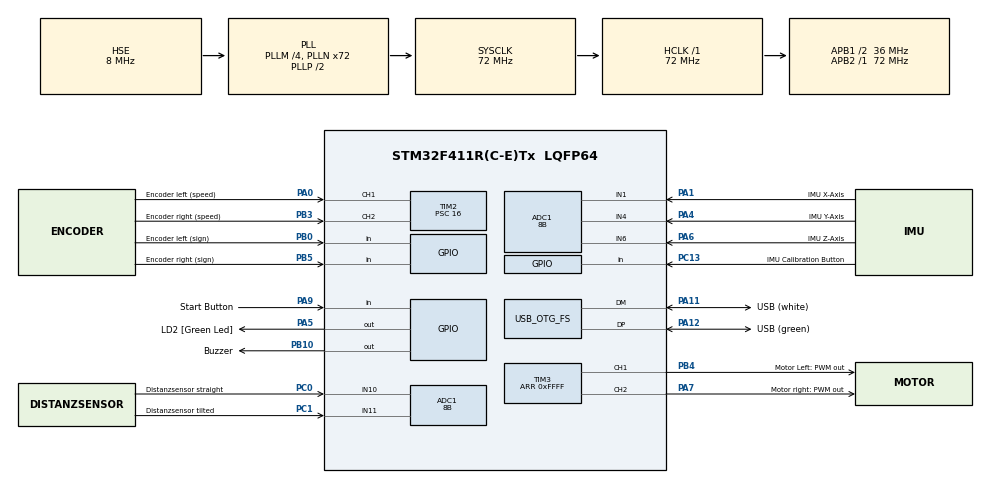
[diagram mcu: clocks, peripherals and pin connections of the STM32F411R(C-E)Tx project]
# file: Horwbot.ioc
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ADC1.Channel-18\#ChannelRegularConversion=ADC_CHANNEL_4
ADC1.Channel-20\#ChannelRegularConversion=ADC_CHANNEL_6
ADC1.Channel-21\#ChannelRegularConversion=ADC_CHANNEL_10
ADC1.Channel-22\#ChannelRegularConversion=ADC_CHANNEL_11
ADC1.Channel-6\#ChannelRegularConversion=ADC_CHANNEL_1
ADC1.ClockPrescaler=ADC_CLOCK_SYNC_PCLK_DIV8
ADC1.ContinuousConvMode=DISABLE
ADC1.DMAContinuousRequests=ENABLE
ADC1.DiscontinuousConvMode=DISABLE
ADC1.EOCSelection=ADC_EOC_SEQ_CONV
ADC1.NbrOfConversion=5
ADC1.NbrOfConversionFlag=1
ADC1.Rank-18\#ChannelRegularConversion=2
ADC1.Rank-20\#ChannelRegularConversion=3
ADC1.Rank-21\#ChannelRegularConversion=4
ADC1.Rank-22\#ChannelRegularConversion=5
ADC1.Rank-6\#ChannelRegularConversion=1
ADC1.Resolution=ADC_RESOLUTION_8B
ADC1.SamplingTime-18\#ChannelRegularConversion=ADC_SAMPLETIME_480CYCLES
ADC1.SamplingTime-20\#ChannelRegularConversion=ADC_SAMPLETIME_480CYCLES
ADC1.SamplingTime-21\#ChannelRegularConversion=ADC_SAMPLETIME_480CYCLES
ADC1.SamplingTime-22\#ChannelRegularConversion=ADC_SAMPLETIME_480CYCLES
ADC1.SamplingTime-6\#ChannelRegularConversion=ADC_SAMPLETIME_480CYCLES
ADC1.ScanConvMode=ENABLE
ADC1.master=1
Dma.ADC1.0.Direction=DMA_PERIPH_TO_MEMORY
Dma.ADC1.0.FIFOMode=DMA_FIFOMODE_DISABLE
Dma.ADC1.0.Instance=DMA2_Stream0
Dma.ADC1.0.MemDataAlignment=DMA_MDATAALIGN_BYTE
Dma.ADC1.0.MemInc=DMA_MINC_ENABLE
Dma.ADC1.0.Mode=DMA_NORMAL
Dma.ADC1.0.PeriphDataAlignment=DMA_PDATAALIGN_BYTE
Dma.ADC1.0.PeriphInc=DMA_PINC_DISABLE
Dma.ADC1.0.Priority=DMA_PRIORITY_LOW
Dma.Request0=ADC1
Mcu.Family=STM32F4
Mcu.Name=STM32F411R(C-E)Tx
Mcu.Package=LQFP64
NVIC.ADC_IRQn=true\:0\:0\:false\:false\:true\:true
NVIC.DMA2_Stream0_IRQn=true\:0\:0\:false\:false\:true\:false
NVIC.OTG_FS_IRQn=true\:0\:0\:false\:false\:true\:true
NVIC.PriorityGroup=NVIC_PRIORITYGROUP_0
NVIC.TIM2_IRQn=true\:0\:0\:false\:false\:true\:true
PA0-WKUP.GPIO_Label=Encoder left (speed)
PA0-WKUP.Signal=S_TIM2_CH1_ETR
PA1.GPIO_Label=IMU X-Axis
PA1.Signal=ADCx_IN1
PA11.GPIO_Label=USB (white)
PA11.Mode=Device_Only
PA11.Signal=USB_OTG_FS_DM
PA12.GPIO_Label=USB (green)
PA12.Mode=Device_Only
PA12.Signal=USB_OTG_FS_DP
PA13.GPIO_Label=Debug\: TMS
PA13.Mode=Serial_Wire
PA13.Signal=SYS_JTMS-SWDIO
PA14.GPIO_Label=Debug\: TCK
PA14.Mode=Serial_Wire
PA14.Signal=SYS_JTCK-SWCLK
PA2.GPIO_Label=Default Nucleo TX
PA2.Signal=USART2_TX
PA3.GPIO_Label=Default Nucleo RX
PA3.Signal=USART2_RX
PA4.GPIO_Label=IMU Y-Axis
PA4.Signal=ADCx_IN4
PA5.GPIO_Label=LD2 [Green Led]
PA5.Signal=GPIO_Output
PA6.GPIO_Label=IMU Z-Axis
PA6.Signal=ADCx_IN6
PA7.GPIO_Label=Motor right\: PWM out
PA7.Signal=S_TIM3_CH2
PA9.GPIO_Label=Start Button
PA9.GPIO_PuPd=GPIO_PULLDOWN
PA9.Signal=GPIO_Input
PB0.GPIO_Label=Encoder left (sign)
PB0.Signal=GPIO_Input
PB10.GPIO_Label=Buzzer
PB10.GPIO_ModeDefaultOutputPP=GPIO_MODE_OUTPUT_OD
PB10.PinState=GPIO_PIN_SET
PB10.Signal=GPIO_Output
PB3.GPIO_Label=Encoder right (speed)
PB3.Signal=S_TIM2_CH2
PB4.GPIO_Label=Motor Left\: PWM out
PB4.Signal=S_TIM3_CH1
PB5.GPIO_Label=Encoder right (sign)
PB5.Signal=GPIO_Input
PC0.GPIO_Label=Distanzsensor straight
PC0.Signal=ADCx_IN10
PC1.GPIO_Label=Distanzsensor tilted
PC1.Signal=ADCx_IN11
PC13-ANTI_TAMP.GPIO_Label=IMU Calibration Button
PC13-ANTI_TAMP.Signal=GPIO_Input
PC14-OSC32_IN.Mode=LSE-External-Oscillator
PC14-OSC32_IN.Signal=RCC_OSC32_IN
PC15-OSC32_OUT.Mode=LSE-External-Oscillator
PC15-OSC32_OUT.Signal=RCC_OSC32_OUT
PH0\ -\ OSC_IN.Mode=HSE-External-Clock-Source
PH0\ -\ OSC_IN.Signal=RCC_OSC_IN
PH1\ -\ OSC_OUT.Mode=HSE-External-Clock-Source
PH1\ -\ OSC_OUT.Signal=RCC_OSC_OUT
ProjectManager.HeapSize=0x200
ProjectManager.StackSize=0x400
ProjectManager.TargetToolchain=TrueSTUDIO
RCC.48MHZClocksFreq_Value=48000000
RCC.AHBFreq_Value=72000000
RCC.APB1CLKDivider=RCC_HCLK_DIV2
RCC.APB1Freq_Value=36000000
RCC.APB1TimFreq_Value=72000000
RCC.APB2Freq_Value=72000000
RCC.APB2TimFreq_Value=72000000
RCC.CortexFreq_Value=72000000
RCC.FLatency-AdvancedSettings=FLASH_LATENCY_2
RCC.HCLKFreq_Value=72000000
RCC.HSE_VALUE=8000000
RCC.HSI_VALUE=16000000
RCC.PLLM=4
RCC.PLLN=72
RCC.PLLQ=3
RCC.SYSCLKFreq_VALUE=72000000
RCC.SYSCLKSource=RCC_SYSCLKSOURCE_PLLCLK
RCC.VCOOutputFreq_Value=144000000
SH.ADCx_IN1.0=ADC1_IN1,IN1
SH.ADCx_IN10.0=ADC1_IN10,IN10
SH.ADCx_IN11.0=ADC1_IN11,IN11
SH.ADCx_IN4.0=ADC1_IN4,IN4
SH.ADCx_IN6.0=ADC1_IN6,IN6
SH.S_TIM2_CH1_ETR.0=TIM2_CH1,Input_Capture1_from_TI1
SH.S_TIM2_CH2.0=TIM2_CH2,Input_Capture2_from_TI2
SH.S_TIM3_CH1.0=TIM3_CH1,PWM Generation1 CH1
SH.S_TIM3_CH2.0=TIM3_CH2,PWM Generation2 CH2
TIM2.Channel-Input_Capture1_from_TI1=TIM_CHANNEL_1
TIM2.Channel-Input_Capture2_from_TI2=TIM_CHANNEL_2
TIM2.Period=0xFFFFFFFF
TIM2.Prescaler=16
TIM3.Channel-PWM\ Generation1\ CH1=TIM_CHANNEL_1
TIM3.Channel-PWM\ Generation2\ CH2=TIM_CHANNEL_2
TIM3.ClockDivision=TIM_CLOCKDIVISION_DIV4
TIM3.Period=0xFFFF
TIM3.Pulse-PWM\ Generation1\ CH1=6000
TIM3.Pulse-PWM\ Generation2\ CH2=6000
TIM3.TIM_MasterOutputTrigger=TIM_TRGO_ENABLE
USB_DEVICE.CLASS_NAME_FS=CDC
USB_DEVICE.VirtualMode=Cdc
USB_DEVICE.VirtualModeFS=Cdc_FS
USB_OTG_FS.VirtualMode=Device_Only
VP_TIM2_VS_ClockSourceINT.Mode=Internal
VP_TIM3_VS_ClockSourceINT.Mode=Internal
VP_USB_DEVICE_VS_USB_DEVICE_CDC_FS.Mode=CDC_FS
board=NUCLEO-F411RE

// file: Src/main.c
/**
  ******************************************************************************
  * @file           : main.c
  * @brief          : Main program body
  ******************************************************************************
  * This notice applies to any and all portions of this file
  * that are not between comment pairs USER CODE BEGIN and
  * USER CODE END. Other portions of this file, whether
  * inserted by the user or by software development tools
  * are owned by their respective copyright owners.
  *
  * Copyright (c) 2020 STMicroelectronics International N.V.
  * All rights reserved.
  *
  * Redistribution and use in source and binary forms, with or without
  * modification, are permitted, provided that the following conditions are met:
  *
  * 1. Redistribution of source code must retain the above copyright notice,
  *    this list of conditions and the following disclaimer.
  * 2. Redistributions in binary form must reproduce the above copyright notice,
  *    this list of conditions and the following disclaimer in the documentation
  *    and/or other materials provided with the distribution.
  * 3. Neither the name of STMicroelectronics nor the names of other
  *    contributors to this software may be used to endorse or promote products
  *    derived from this software without specific written permission.
  * 4. This software, including modifications and/or derivative works of this
  *    software, must execute solely and exclusively on microcontroller or
  *    microprocessor devices manufactured by or for STMicroelectronics.
  * 5. Redistribution and use of this software other than as permitted under
  *    this license is void and will automatically terminate your rights under
  *    this license.
  *
  * THIS SOFTWARE IS PROVIDED BY STMICROELECTRONICS AND CONTRIBUTORS "AS IS"
  * AND ANY EXPRESS, IMPLIED OR STATUTORY WARRANTIES, INCLUDING, BUT NOT
  * LIMITED TO, THE IMPLIED WARRANTIES OF MERCHANTABILITY, FITNESS FOR A
  * PARTICULAR PURPOSE AND NON-INFRINGEMENT OF THIRD PARTY INTELLECTUAL PROPERTY
  * RIGHTS ARE DISCLAIMED TO THE FULLEST EXTENT PERMITTED BY LAW. IN NO EVENT
  * SHALL STMICROELECTRONICS OR CONTRIBUTORS BE LIABLE FOR ANY DIRECT, INDIRECT,
  * INCIDENTAL, SPECIAL, EXEMPLARY, OR CONSEQUENTIAL DAMAGES (INCLUDING, BUT NOT
  * LIMITED TO, PROCUREMENT OF SUBSTITUTE GOODS OR SERVICES; LOSS OF USE, DATA,
  * OR PROFITS; OR BUSINESS INTERRUPTION) HOWEVER CAUSED AND ON ANY THEORY OF
  * LIABILITY, WHETHER IN CONTRACT, STRICT LIABILITY, OR TORT (INCLUDING
  * NEGLIGENCE OR OTHERWISE) ARISING IN ANY WAY OUT OF THE USE OF THIS SOFTWARE,
  * EVEN IF ADVISED OF THE POSSIBILITY OF SUCH DAMAGE.
  *
  ******************************************************************************
  */
#include "main.h"
#include "stm32f4xx_hal.h"
#include "usb_device.h"

/* USER CODE BEGIN Includes */
#include "stdbool.h"
#include "Functions.h"

/* USER CODE END Includes */

ADC_HandleTypeDef hadc1;
DMA_HandleTypeDef hdma_adc1;

TIM_HandleTypeDef htim2;
TIM_HandleTypeDef htim3;

/* USER CODE BEGIN PV */
/* Private variables ---------------------------------------------------------*/
uint8_t USBreceivedFlag = 0;     // indicates if data has been received by USB
uint8_t USBreceivedBuffer[100];  // contains received data by USB

uint16_t Encoder_Counter[2] = {0, 0};
int8_t   Encoder_Sign[2]    = {1, 1};	// 1: positive (clockwise) direction of rotation, -1: negative (counter-clockwise) direction of rotation

/* USER CODE END PV */

void SystemClock_Config(void);
static void MX_GPIO_Init(void);
static void MX_DMA_Init(void);
static void MX_TIM2_Init(void);
static void MX_ADC1_Init(void);
static void MX_TIM3_Init(void);

void HAL_TIM_MspPostInit(TIM_HandleTypeDef *htim);

/* USER CODE BEGIN PFP */
/* Private function prototypes -----------------------------------------------*/
extern uint8_t CDC_Transmit_FS(uint8_t* Buf, uint16_t Len);

/* USER CODE END PFP */

int main(void)
{
  /* USER CODE BEGIN 1 */
	uint8_t ADCbuffer[ADC_CH_AMOUNT];	// 0: IMU X-Axis
										// 1: IMU Y-Axis
										// 2: IMU Z-Axis
										// 3: DistanceSensor straight
										// 4: DistanceSensor tilted

	uint16_t MainCounter  = 0;			// Main Counter, increases every 10 ms

	int8_t IMU_OffsetCalibration[3];

	bool     Buzzer_ActiveFlag   = false;
	uint16_t Buzzer_ResetCounter = 0;

	int16_t Encoder_Speed[2]             = {0, 0};
	int16_t Motor_TargetSpeedReceived[2] = {0, 0};  // Received target speed value
	int16_t Motor_TargetSpeed[2]         = {0, 0};  // Real target speed value, which is used as input for the motor control (this is the smoothed version of Motor_TargetSpeedReceived)

	bool JetsonReady = false;

  /* USER CODE END 1 */

  /* MCU Configuration----------------------------------------------------------*/

  /* Reset of all peripherals, Initializes the Flash interface and the Systick. */
  HAL_Init();

  /* Configure the system clock */
  SystemClock_Config();

  /* Initialize all configured peripherals */
  MX_GPIO_Init();
  MX_DMA_Init();
  MX_TIM2_Init();
  MX_ADC1_Init();
  MX_USB_DEVICE_Init();
  MX_TIM3_Init();
  /* USER CODE BEGIN 2 */

  /* IMU Offset-Calibration on startup */
  HAL_ADC_Start_DMA(&hadc1, &ADCbuffer[0], ADC_CH_AMOUNT);  // Start first ADC Conversion for IMU Offset-Calibration
  HAL_Delay(100);  // Delay in ms  // wait for first conversion to complete

  IMU_calibrate_offset(IMU_OffsetCalibration, ADCbuffer);

  /* Initialize Timers */
  TIM_Init(htim2, htim3);

  /* USER CODE END 2 */

  /* Infinite loop */
  while (1)
  {

  /* USER CODE BEGIN 3 */

	  if((Buzzer_ActiveFlag == 1) && (MainCounter >= Buzzer_ResetCounter))
	  {
		  buzzer_off();
		  Buzzer_ActiveFlag = 0;
	  }

	  if(startButton_raisingEdge())
	  {
		  if(JetsonReady)
		  {
			  // notify Navigation-Computer that start command has been issued by the user
			  USB_send_start();

			  // notify user by a short beep
			  buzzer_initiate_shortbeep(&Buzzer_ActiveFlag, MainCounter, &Buzzer_ResetCounter);
		  }
		  else
		  {
			  // Jetson is not ready yet -> notify user by a long beep
			  buzzer_initiate_longbeep(&Buzzer_ActiveFlag, MainCounter, &Buzzer_ResetCounter);
		  }
	  }

	  if(imu_calibrationButton_pressed())
	  {
		  IMU_calibrate_offset(IMU_OffsetCalibration, ADCbuffer);
	  }

	  if(USBreceivedFlag)
	  {
		  USBreceivedFlag = 0;
		  USB_receive_handle(Motor_TargetSpeedReceived, MainCounter, &Buzzer_ActiveFlag, &Buzzer_ResetCounter, &JetsonReady);
	  }

	  if((MainCounter % 10) == 0) // every 10th time (every 100 ms)
	  {
		  Encoder_calculateSpeed(Encoder_Speed);

		  if(JetsonReady)
		  {
			  USB_send_sensordata(ADCbuffer, IMU_OffsetCalibration, Encoder_Speed);
		  }

		  adjust_TargetSpeed(Motor_TargetSpeed, Motor_TargetSpeedReceived);

		  Motor_Control(htim3, Encoder_Speed, Motor_TargetSpeed);

		  /* Start new ADC-Conversions */
		  HAL_ADC_Start_DMA(&hadc1, ADCbuffer, ADC_CH_AMOUNT);
	  }

	  ++MainCounter;
	  HAL_Delay(10);  // Delay in ms
  }

  /* USER CODE END 3 */

}

void SystemClock_Config(void)
{

  RCC_OscInitTypeDef RCC_OscInitStruct;
  RCC_ClkInitTypeDef RCC_ClkInitStruct;

    /**Configure the main internal regulator output voltage
    */
  __HAL_RCC_PWR_CLK_ENABLE();

  __HAL_PWR_VOLTAGESCALING_CONFIG(PWR_REGULATOR_VOLTAGE_SCALE1);

    /**Initializes the CPU, AHB and APB busses clocks
    */
  RCC_OscInitStruct.OscillatorType = RCC_OSCILLATORTYPE_HSE;
  RCC_OscInitStruct.HSEState = RCC_HSE_BYPASS;
  RCC_OscInitStruct.PLL.PLLState = RCC_PLL_ON;
  RCC_OscInitStruct.PLL.PLLSource = RCC_PLLSOURCE_HSE;
  RCC_OscInitStruct.PLL.PLLM = 4;
  RCC_OscInitStruct.PLL.PLLN = 72;
  RCC_OscInitStruct.PLL.PLLP = RCC_PLLP_DIV2;
  RCC_OscInitStruct.PLL.PLLQ = 3;
  if (HAL_RCC_OscConfig(&RCC_OscInitStruct) != HAL_OK)
  {
    _Error_Handler(__FILE__, __LINE__);
  }

    /**Initializes the CPU, AHB and APB busses clocks
    */
  RCC_ClkInitStruct.ClockType = RCC_CLOCKTYPE_HCLK|RCC_CLOCKTYPE_SYSCLK
                              |RCC_CLOCKTYPE_PCLK1|RCC_CLOCKTYPE_PCLK2;
  RCC_ClkInitStruct.SYSCLKSource = RCC_SYSCLKSOURCE_PLLCLK;
  RCC_ClkInitStruct.AHBCLKDivider = RCC_SYSCLK_DIV1;
  RCC_ClkInitStruct.APB1CLKDivider = RCC_HCLK_DIV2;
  RCC_ClkInitStruct.APB2CLKDivider = RCC_HCLK_DIV1;

  if (HAL_RCC_ClockConfig(&RCC_ClkInitStruct, FLASH_LATENCY_2) != HAL_OK)
  {
    _Error_Handler(__FILE__, __LINE__);
  }

    /**Configure the Systick interrupt time
    */
  HAL_SYSTICK_Config(HAL_RCC_GetHCLKFreq()/1000);

    /**Configure the Systick
    */
  HAL_SYSTICK_CLKSourceConfig(SYSTICK_CLKSOURCE_HCLK);

  /* SysTick_IRQn interrupt configuration */
  HAL_NVIC_SetPriority(SysTick_IRQn, 0, 0);
}

/* ADC1 init function */
static void MX_ADC1_Init(void)
{

  ADC_ChannelConfTypeDef sConfig;

    /**Configure the global features of the ADC (Clock, Resolution, Data Alignment and number of conversion)
    */
  hadc1.Instance = ADC1;
  hadc1.Init.ClockPrescaler = ADC_CLOCK_SYNC_PCLK_DIV8;
  hadc1.Init.Resolution = ADC_RESOLUTION_8B;
  hadc1.Init.ScanConvMode = ENABLE;
  hadc1.Init.ContinuousConvMode = DISABLE;
  hadc1.Init.DiscontinuousConvMode = DISABLE;
  hadc1.Init.ExternalTrigConvEdge = ADC_EXTERNALTRIGCONVEDGE_NONE;
  hadc1.Init.ExternalTrigConv = ADC_SOFTWARE_START;
  hadc1.Init.DataAlign = ADC_DATAALIGN_RIGHT;
  hadc1.Init.NbrOfConversion = 5;
  hadc1.Init.DMAContinuousRequests = ENABLE;
  hadc1.Init.EOCSelection = ADC_EOC_SEQ_CONV;
  if (HAL_ADC_Init(&hadc1) != HAL_OK)
  {
    _Error_Handler(__FILE__, __LINE__);
  }

    /**Configure for the selected ADC regular channel its corresponding rank in the sequencer and its sample time.
    */
  sConfig.Channel = ADC_CHANNEL_1;
  sConfig.Rank = 1;
  sConfig.SamplingTime = ADC_SAMPLETIME_480CYCLES;
  if (HAL_ADC_ConfigChannel(&hadc1, &sConfig) != HAL_OK)
  {
    _Error_Handler(__FILE__, __LINE__);
  }

    /**Configure for the selected ADC regular channel its corresponding rank in the sequencer and its sample time.
    */
  sConfig.Channel = ADC_CHANNEL_4;
  sConfig.Rank = 2;
  if (HAL_ADC_ConfigChannel(&hadc1, &sConfig) != HAL_OK)
  {
    _Error_Handler(__FILE__, __LINE__);
  }

    /**Configure for the selected ADC regular channel its corresponding rank in the sequencer and its sample time.
    */
  sConfig.Channel = ADC_CHANNEL_6;
  sConfig.Rank = 3;
  if (HAL_ADC_ConfigChannel(&hadc1, &sConfig) != HAL_OK)
  {
    _Error_Handler(__FILE__, __LINE__);
  }

    /**Configure for the selected ADC regular channel its corresponding rank in the sequencer and its sample time.
    */
  sConfig.Channel = ADC_CHANNEL_10;
  sConfig.Rank = 4;
  if (HAL_ADC_ConfigChannel(&hadc1, &sConfig) != HAL_OK)
  {
    _Error_Handler(__FILE__, __LINE__);
  }

    /**Configure for the selected ADC regular channel its corresponding rank in the sequencer and its sample time.
    */
  sConfig.Channel = ADC_CHANNEL_11;
  sConfig.Rank = 5;
  if (HAL_ADC_ConfigChannel(&hadc1, &sConfig) != HAL_OK)
  {
    _Error_Handler(__FILE__, __LINE__);
  }

}

/* TIM2 init function */
static void MX_TIM2_Init(void)
{

  TIM_ClockConfigTypeDef sClockSourceConfig;
  TIM_MasterConfigTypeDef sMasterConfig;
  TIM_IC_InitTypeDef sConfigIC;

  htim2.Instance = TIM2;
  htim2.Init.Prescaler = 16;
  htim2.Init.CounterMode = TIM_COUNTERMODE_UP;
  htim2.Init.Period = 0xFFFFFFFF;
  htim2.Init.ClockDivision = TIM_CLOCKDIVISION_DIV1;
  if (HAL_TIM_Base_Init(&htim2) != HAL_OK)
  {
    _Error_Handler(__FILE__, __LINE__);
  }

  sClockSourceConfig.ClockSource = TIM_CLOCKSOURCE_INTERNAL;
  if (HAL_TIM_ConfigClockSource(&htim2, &sClockSourceConfig) != HAL_OK)
  {
    _Error_Handler(__FILE__, __LINE__);
  }

  if (HAL_TIM_IC_Init(&htim2) != HAL_OK)
  {
    _Error_Handler(__FILE__, __LINE__);
  }

  sMasterConfig.MasterOutputTrigger = TIM_TRGO_RESET;
  sMasterConfig.MasterSlaveMode = TIM_MASTERSLAVEMODE_DISABLE;
  if (HAL_TIMEx_MasterConfigSynchronization(&htim2, &sMasterConfig) != HAL_OK)
  {
    _Error_Handler(__FILE__, __LINE__);
  }

  sConfigIC.ICPolarity = TIM_INPUTCHANNELPOLARITY_RISING;
  sConfigIC.ICSelection = TIM_ICSELECTION_DIRECTTI;
  sConfigIC.ICPrescaler = TIM_ICPSC_DIV1;
  sConfigIC.ICFilter = 0;
  if (HAL_TIM_IC_ConfigChannel(&htim2, &sConfigIC, TIM_CHANNEL_1) != HAL_OK)
  {
    _Error_Handler(__FILE__, __LINE__);
  }

  if (HAL_TIM_IC_ConfigChannel(&htim2, &sConfigIC, TIM_CHANNEL_2) != HAL_OK)
  {
    _Error_Handler(__FILE__, __LINE__);
  }

}

/* TIM3 init function */
static void MX_TIM3_Init(void)
{

  TIM_ClockConfigTypeDef sClockSourceConfig;
  TIM_MasterConfigTypeDef sMasterConfig;
  TIM_OC_InitTypeDef sConfigOC;

  htim3.Instance = TIM3;
  htim3.Init.Prescaler = 0;
  htim3.Init.CounterMode = TIM_COUNTERMODE_UP;
  htim3.Init.Period = 0xFFFF;
  htim3.Init.ClockDivision = TIM_CLOCKDIVISION_DIV4;
  if (HAL_TIM_Base_Init(&htim3) != HAL_OK)
  {
    _Error_Handler(__FILE__, __LINE__);
  }

  sClockSourceConfig.ClockSource = TIM_CLOCKSOURCE_INTERNAL;
  if (HAL_TIM_ConfigClockSource(&htim3, &sClockSourceConfig) != HAL_OK)
  {
    _Error_Handler(__FILE__, __LINE__);
  }

  if (HAL_TIM_PWM_Init(&htim3) != HAL_OK)
  {
    _Error_Handler(__FILE__, __LINE__);
  }

  sMasterConfig.MasterOutputTrigger = TIM_TRGO_ENABLE;
  sMasterConfig.MasterSlaveMode = TIM_MASTERSLAVEMODE_DISABLE;
  if (HAL_TIMEx_MasterConfigSynchronization(&htim3, &sMasterConfig) != HAL_OK)
  {
    _Error_Handler(__FILE__, __LINE__);
  }

  sConfigOC.OCMode = TIM_OCMODE_PWM1;
  sConfigOC.Pulse = 6000;
  sConfigOC.OCPolarity = TIM_OCPOLARITY_HIGH;
  sConfigOC.OCFastMode = TIM_OCFAST_DISABLE;
  if (HAL_TIM_PWM_ConfigChannel(&htim3, &sConfigOC, TIM_CHANNEL_1) != HAL_OK)
  {
    _Error_Handler(__FILE__, __LINE__);
  }

  if (HAL_TIM_PWM_ConfigChannel(&htim3, &sConfigOC, TIM_CHANNEL_2) != HAL_OK)
  {
    _Error_Handler(__FILE__, __LINE__);
  }

  HAL_TIM_MspPostInit(&htim3);

}

static void MX_DMA_Init(void)
{
  /* DMA controller clock enable */
  __HAL_RCC_DMA2_CLK_ENABLE();

  /* DMA interrupt init */
  /* DMA2_Stream0_IRQn interrupt configuration */
  HAL_NVIC_SetPriority(DMA2_Stream0_IRQn, 0, 0);
  HAL_NVIC_EnableIRQ(DMA2_Stream0_IRQn);

}

/** Configure pins as
        * Analog
        * Input
        * Output
        * EVENT_OUT
        * EXTI
     PA2   ------> USART2_TX
     PA3   ------> USART2_RX
*/
static void MX_GPIO_Init(void)
{

  GPIO_InitTypeDef GPIO_InitStruct;

  /* GPIO Ports Clock Enable */
  __HAL_RCC_GPIOC_CLK_ENABLE();
  __HAL_RCC_GPIOH_CLK_ENABLE();
  __HAL_RCC_GPIOA_CLK_ENABLE();
  __HAL_RCC_GPIOB_CLK_ENABLE();

  /*Configure GPIO pin Output Level */
  HAL_GPIO_WritePin(LD2_GPIO_Port, LD2_Pin, GPIO_PIN_RESET);

  /*Configure GPIO pin Output Level */
  HAL_GPIO_WritePin(Buzzer_GPIO_Port, Buzzer_Pin, GPIO_PIN_SET);

  /*Configure GPIO pin : IMU_Calibration_Button_Pin */
  GPIO_InitStruct.Pin = IMU_Calibration_Button_Pin;
  GPIO_InitStruct.Mode = GPIO_MODE_INPUT;
  GPIO_InitStruct.Pull = GPIO_NOPULL;
  HAL_GPIO_Init(IMU_Calibration_Button_GPIO_Port, &GPIO_InitStruct);

  /*Configure GPIO pins : Default_Nucleo_TX_Pin Default_Nucleo_RX_Pin */
  GPIO_InitStruct.Pin = Default_Nucleo_TX_Pin|Default_Nucleo_RX_Pin;
  GPIO_InitStruct.Mode = GPIO_MODE_AF_PP;
  GPIO_InitStruct.Pull = GPIO_NOPULL;
  GPIO_InitStruct.Speed = GPIO_SPEED_FREQ_VERY_HIGH;
  GPIO_InitStruct.Alternate = GPIO_AF7_USART2;
  HAL_GPIO_Init(GPIOA, &GPIO_InitStruct);

  /*Configure GPIO pin : LD2_Pin */
  GPIO_InitStruct.Pin = LD2_Pin;
  GPIO_InitStruct.Mode = GPIO_MODE_OUTPUT_PP;
  GPIO_InitStruct.Pull = GPIO_NOPULL;
  GPIO_InitStruct.Speed = GPIO_SPEED_FREQ_LOW;
  HAL_GPIO_Init(LD2_GPIO_Port, &GPIO_InitStruct);

  /*Configure GPIO pins : Encoder_leftB0_Pin Encoder_rightB5_Pin */
  GPIO_InitStruct.Pin = Encoder_leftB0_Pin|Encoder_rightB5_Pin;
  GPIO_InitStruct.Mode = GPIO_MODE_INPUT;
  GPIO_InitStruct.Pull = GPIO_NOPULL;
  HAL_GPIO_Init(GPIOB, &GPIO_InitStruct);

  /*Configure GPIO pin : Buzzer_Pin */
  GPIO_InitStruct.Pin = Buzzer_Pin;
  GPIO_InitStruct.Mode = GPIO_MODE_OUTPUT_OD;
  GPIO_InitStruct.Pull = GPIO_NOPULL;
  GPIO_InitStruct.Speed = GPIO_SPEED_FREQ_LOW;
  HAL_GPIO_Init(Buzzer_GPIO_Port, &GPIO_InitStruct);

  /*Configure GPIO pin : Start_Button_Pin */
  GPIO_InitStruct.Pin = Start_Button_Pin;
  GPIO_InitStruct.Mode = GPIO_MODE_INPUT;
  GPIO_InitStruct.Pull = GPIO_PULLDOWN;
  HAL_GPIO_Init(Start_Button_GPIO_Port, &GPIO_InitStruct);

}

void _Error_Handler(char *file, int line)
{
  while(1)
  {
  }
}

/************************ (C) COPYRIGHT STMicroelectronics *****END OF FILE****/
